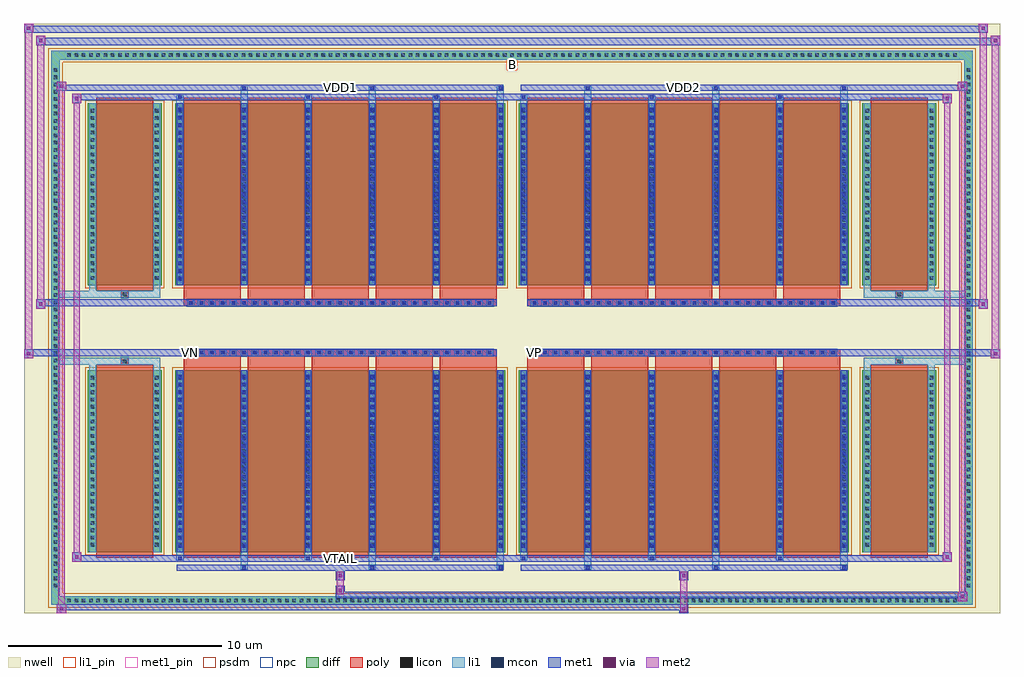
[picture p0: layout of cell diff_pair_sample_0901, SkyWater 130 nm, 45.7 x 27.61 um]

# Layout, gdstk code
import gdstk
lib = gdstk.Library(unit=1e-6, precision=5e-09)
def R(c, l, rs):  # rectangles x0, y0, x1, y1
    for r in rs: c.add(gdstk.rectangle(r[:2], r[2:], *l))
def A(c, l, x, y, w, h, nx, ny, dx, dy):  # array of equal rectangles
    R(c, l, [(x+i*dx, y+j*dy, x+i*dx+w, y+j*dy+h) for i in range(nx) for j in range(ny)])
def P(c, l, *ps):  # polygons
    for p in ps: c.add(gdstk.Polygon(p, *l))
nwell = (64, 20)
diff = (65, 20)
poly = (66, 20)
licon = (66, 44)
li1_pin = (67, 16)
li1 = (67, 20)
mcon = (67, 44)
met1_pin = (68, 16)
met1 = (68, 20)
via = (68, 44)
met2 = (69, 20)
psdm = (94, 20)
npc = (95, 20)

diff_pair_sample_0901 = lib.new_cell('diff_pair_sample_0901')
R(diff_pair_sample_0901, nwell, [(-22.85,-13.37,22.85,14.24), (-20.17,-11.56,-0.01,-0.8), (0.01,-11.56,20.17,-0.8), (-20.17,0.8,-0.01,11.56), (0.01,0.8,20.17,11.56)])
A(diff_pair_sample_0901, diff, -20.945, -12.97, 0.41, 0.41, 123, 2, 0.34, 25.53)
A(diff_pair_sample_0901, diff, -21.58, -12.275, 0.41, 0.41, 1, 72, 0, 0.34)
A(diff_pair_sample_0901, diff, 21.17, -12.275, 0.41, 0.41, 1, 72, 0, 0.34)
R(diff_pair_sample_0901, diff, [(-20.945,-12.97,20.945,-12.56), (-21.58,-12.275,-21.17,12.275), (21.17,-12.275,21.58,12.275), (-19.86,-10.515,-16.41,-1.985), (-15.77,-10.515,-0.32,-1.985), (0.32,-10.515,15.77,-1.985), (16.41,-10.515,19.86,-1.985), (-19.86,1.985,-16.41,10.515), (-15.77,1.985,-0.32,10.515), (0.32,1.985,15.77,10.515), (16.41,1.985,19.86,10.515), (-20.945,12.56,20.945,12.97)])
P(diff_pair_sample_0901, diff, [(21.58,12.97),(-21.58,12.97),(-21.58,-12.56),(-21.17,-12.56),(-21.17,12.56),(21.17,12.56),(21.17,-12.56),(-21.17,-12.56),(-21.58,-12.56),(-21.58,-12.97),(21.58,-12.97)])
A(diff_pair_sample_0901, poly, -15.38, -10.765, 2.67, 9.03, 5, 2, 3, 12.5)
A(diff_pair_sample_0901, poly, 0.71, -10.765, 2.67, 9.03, 5, 2, 3, 12.5)
A(diff_pair_sample_0901, poly, -15.38, -1.735, 2.67, 0.405, 5, 2, 3, 3.065)
A(diff_pair_sample_0901, poly, 0.71, -1.735, 2.67, 0.405, 5, 2, 3, 3.065)
A(diff_pair_sample_0901, poly, -15.21, -1.33, 0.33, 0.33, 29, 2, 0.5, 2.33)
A(diff_pair_sample_0901, poly, 0.88, -1.33, 0.33, 0.33, 29, 2, 0.5, 2.33)
R(diff_pair_sample_0901, poly, [(-19.47,-10.765,-16.8,-1.735), (16.8,-10.765,19.47,-1.735), (-18.3,-1.735,-17.97,-1.405), (-18.3,-1.735,-17.97,-1.405), (17.97,-1.735,18.3,-1.405), (17.97,-1.735,18.3,-1.405), (-15.38,-1.33,-0.71,-1), (0.71,-1.33,15.38,-1), (-15.38,1,-0.71,1.33), (0.71,1,15.38,1.33), (-18.3,1.405,-17.97,1.735), (-18.3,1.405,-17.97,1.735), (17.97,1.405,18.3,1.735), (17.97,1.405,18.3,1.735), (-19.47,1.735,-16.8,10.765), (16.8,1.735,19.47,10.765)])
A(diff_pair_sample_0901, licon, -20.825, -12.85, 0.17, 0.17, 123, 2, 0.34, 25.53)
A(diff_pair_sample_0901, licon, -21.46, -12.155, 0.17, 0.17, 1, 72, 0, 0.34)
A(diff_pair_sample_0901, licon, 21.29, -12.155, 0.17, 0.17, 1, 72, 0, 0.34)
A(diff_pair_sample_0901, licon, -19.72, -10.245, 0.17, 0.17, 1, 24, 0, 0.34)
A(diff_pair_sample_0901, licon, -16.72, -10.245, 0.17, 0.17, 1, 24, 0, 0.34)
A(diff_pair_sample_0901, licon, -15.63, -10.245, 0.17, 0.17, 6, 24, 3, 0.34)
A(diff_pair_sample_0901, licon, 0.46, -10.245, 0.17, 0.17, 6, 24, 3, 0.34)
A(diff_pair_sample_0901, licon, 16.55, -10.245, 0.17, 0.17, 1, 24, 0, 0.34)
A(diff_pair_sample_0901, licon, 19.55, -10.245, 0.17, 0.17, 1, 24, 0, 0.34)
A(diff_pair_sample_0901, licon, -15.13, -1.25, 0.17, 0.17, 29, 2, 0.5, 2.33)
A(diff_pair_sample_0901, licon, 0.96, -1.25, 0.17, 0.17, 29, 2, 0.5, 2.33)
A(diff_pair_sample_0901, licon, -19.72, 2.255, 0.17, 0.17, 1, 24, 0, 0.34)
A(diff_pair_sample_0901, licon, -16.72, 2.255, 0.17, 0.17, 1, 24, 0, 0.34)
A(diff_pair_sample_0901, licon, -15.63, 2.255, 0.17, 0.17, 6, 24, 3, 0.34)
A(diff_pair_sample_0901, licon, 0.46, 2.255, 0.17, 0.17, 6, 24, 3, 0.34)
A(diff_pair_sample_0901, licon, 16.55, 2.255, 0.17, 0.17, 1, 24, 0, 0.34)
A(diff_pair_sample_0901, licon, 19.55, 2.255, 0.17, 0.17, 1, 24, 0, 0.34)
R(diff_pair_sample_0901, licon, [(-18.22,-1.655,-18.05,-1.485), (18.05,-1.655,18.22,-1.485), (-18.22,1.485,-18.05,1.655), (18.05,1.485,18.22,1.655)])
R(diff_pair_sample_0901, li1_pin, [(-0.25,12.06,0.25,12.56)])
A(diff_pair_sample_0901, li1, -20.905, -12.93, 0.33, 0.33, 123, 2, 0.34, 25.53)
A(diff_pair_sample_0901, li1, -21.54, -12.235, 0.33, 0.33, 1, 72, 0, 0.34)
A(diff_pair_sample_0901, li1, 21.21, -12.235, 0.33, 0.33, 1, 72, 0, 0.34)
A(diff_pair_sample_0901, li1, -12.71, -11.32, 0.33, 0.805, 3, 2, 6, 21.835)
A(diff_pair_sample_0901, li1, -12.63, -11.32, 0.17, 0.17, 3, 2, 6, 22.47)
A(diff_pair_sample_0901, li1, 3.38, -11.32, 0.33, 0.805, 3, 2, 6, 21.835)
A(diff_pair_sample_0901, li1, 3.46, -11.32, 0.17, 0.17, 3, 2, 6, 22.47)
A(diff_pair_sample_0901, li1, -15.71, -10.89, 0.33, 0.375, 3, 2, 6, 21.405)
A(diff_pair_sample_0901, li1, -15.63, -10.89, 0.17, 0.17, 3, 2, 6, 21.61)
A(diff_pair_sample_0901, li1, 0.38, -10.89, 0.33, 0.375, 3, 2, 6, 21.405)
A(diff_pair_sample_0901, li1, 0.46, -10.89, 0.17, 0.17, 3, 2, 6, 21.61)
A(diff_pair_sample_0901, li1, -15.71, -10.515, 0.33, 8.53, 6, 2, 3, 12.5)
A(diff_pair_sample_0901, li1, 0.38, -10.515, 0.33, 8.53, 6, 2, 3, 12.5)
A(diff_pair_sample_0901, li1, -19.8, -10.325, 0.33, 0.33, 1, 24, 0, 0.34)
A(diff_pair_sample_0901, li1, -16.8, -10.325, 0.33, 0.33, 1, 24, 0, 0.34)
A(diff_pair_sample_0901, li1, -15.71, -10.325, 0.33, 0.33, 6, 24, 3, 0.34)
A(diff_pair_sample_0901, li1, 0.38, -10.325, 0.33, 0.33, 6, 24, 3, 0.34)
A(diff_pair_sample_0901, li1, 16.47, -10.325, 0.33, 0.33, 1, 24, 0, 0.34)
A(diff_pair_sample_0901, li1, 19.47, -10.325, 0.33, 0.33, 1, 24, 0, 0.34)
A(diff_pair_sample_0901, li1, -15.63, -10.295, 0.17, 0.17, 6, 23, 3, 0.36)
A(diff_pair_sample_0901, li1, -15.63, -10.295, 0.17, 8.09, 6, 2, 3, 12.5)
A(diff_pair_sample_0901, li1, 0.46, -10.295, 0.17, 0.17, 6, 23, 3, 0.36)
A(diff_pair_sample_0901, li1, 0.46, -10.295, 0.17, 8.09, 6, 2, 3, 12.5)
A(diff_pair_sample_0901, li1, -15.21, -1.33, 0.33, 0.33, 29, 2, 0.5, 2.33)
A(diff_pair_sample_0901, li1, 0.88, -1.33, 0.33, 0.33, 29, 2, 0.5, 2.33)
A(diff_pair_sample_0901, li1, -19.8, 2.175, 0.33, 0.33, 1, 24, 0, 0.34)
A(diff_pair_sample_0901, li1, -16.8, 2.175, 0.33, 0.33, 1, 24, 0, 0.34)
A(diff_pair_sample_0901, li1, -15.71, 2.175, 0.33, 0.33, 6, 24, 3, 0.34)
A(diff_pair_sample_0901, li1, 0.38, 2.175, 0.33, 0.33, 6, 24, 3, 0.34)
A(diff_pair_sample_0901, li1, 16.47, 2.175, 0.33, 0.33, 1, 24, 0, 0.34)
A(diff_pair_sample_0901, li1, 19.47, 2.175, 0.33, 0.33, 1, 24, 0, 0.34)
A(diff_pair_sample_0901, li1, -15.63, 2.205, 0.17, 0.17, 6, 23, 3, 0.36)
A(diff_pair_sample_0901, li1, 0.46, 2.205, 0.17, 0.17, 6, 23, 3, 0.36)
R(diff_pair_sample_0901, li1, [(-21.58,-12.97,-21.17,-12.56), (-21.58,-12.97,-21.17,-12.56), (-21.17,-12.97,21.17,-12.56), (21.17,-12.97,21.58,-12.56), (21.17,-12.97,21.58,-12.56), (-21.58,-12.56,-21.17,12.56), (21.17,-12.56,21.58,12.56), (-19.8,-10.515,-19.47,-1.985), (-16.8,-10.515,-16.47,-1.985), (16.47,-10.515,16.8,-1.985), (19.47,-10.515,19.8,-1.985), (-19.8,-1.985,-19.47,-1.405), (-16.8,-1.985,-16.47,-1.405), (16.47,-1.985,16.8,-1.405), (19.47,-1.985,19.8,-1.405), (-21.58,-1.735,-18.3,-1.405), (-19.8,-1.735,-18.3,-1.405), (-18.3,-1.735,-17.97,-1.405), (-17.97,-1.735,-16.47,-1.405), (16.47,-1.735,17.97,-1.405), (17.97,-1.735,18.3,-1.405), (17.97,-1.735,21.58,-1.405), (18.3,-1.735,19.8,-1.405), (-21.58,1.405,-18.3,1.735), (-19.8,1.405,-18.3,1.735), (-19.8,1.405,-19.47,1.985), (-18.3,1.405,-17.97,1.735), (-17.97,1.405,-16.47,1.735), (-16.8,1.405,-16.47,1.985), (16.47,1.405,17.97,1.735), (16.47,1.405,16.8,1.985), (17.97,1.405,18.3,1.735), (17.97,1.405,21.58,1.735), (18.3,1.405,19.8,1.735), (19.47,1.405,19.8,1.985), (-19.8,1.985,-19.47,10.515), (-16.8,1.985,-16.47,10.515), (16.47,1.985,16.8,10.515), (19.47,1.985,19.8,10.515), (-21.58,12.56,-21.17,12.97), (-21.58,12.56,-21.17,12.97), (-21.17,12.56,21.17,12.97), (21.17,12.56,21.58,12.97), (21.17,12.56,21.58,12.97)])
A(diff_pair_sample_0901, mcon, -12.63, -11.32, 0.17, 0.17, 3, 2, 6, 22.47)
A(diff_pair_sample_0901, mcon, 3.46, -11.32, 0.17, 0.17, 3, 2, 6, 22.47)
A(diff_pair_sample_0901, mcon, -15.63, -10.89, 0.17, 0.17, 3, 2, 6, 21.61)
A(diff_pair_sample_0901, mcon, 0.46, -10.89, 0.17, 0.17, 3, 2, 6, 21.61)
A(diff_pair_sample_0901, mcon, -15.63, -10.295, 0.17, 0.17, 6, 23, 3, 0.36)
A(diff_pair_sample_0901, mcon, 0.46, -10.295, 0.17, 0.17, 6, 23, 3, 0.36)
A(diff_pair_sample_0901, mcon, -15.13, -1.25, 0.17, 0.17, 29, 2, 0.5, 2.33)
A(diff_pair_sample_0901, mcon, 0.96, -1.25, 0.17, 0.17, 29, 2, 0.5, 2.33)
A(diff_pair_sample_0901, mcon, -15.63, 2.205, 0.17, 0.17, 6, 23, 3, 0.36)
A(diff_pair_sample_0901, mcon, 0.46, 2.205, 0.17, 0.17, 6, 23, 3, 0.36)
R(diff_pair_sample_0901, met1_pin, [(-8.18,-10.93,-7.91,-10.66), (-15.18,-1.29,-14.91,-1.02), (0.91,-1.29,1.18,-1.02), (-8.18,11.11,-7.91,11.38), (7.91,11.11,8.18,11.38)])
A(diff_pair_sample_0901, met1, -12.69, -11.38, 0.29, 0.29, 3, 2, 6, 22.47)
A(diff_pair_sample_0901, met1, 3.4, -11.38, 0.29, 0.29, 3, 2, 6, 22.47)
A(diff_pair_sample_0901, met1, -15.69, -10.95, 0.29, 0.29, 3, 2, 6, 21.61)
A(diff_pair_sample_0901, met1, 0.4, -10.95, 0.29, 0.29, 3, 2, 6, 21.61)
A(diff_pair_sample_0901, met1, -15.69, -10.515, 0.29, 8.53, 6, 2, 3, 12.5)
A(diff_pair_sample_0901, met1, 0.4, -10.515, 0.29, 8.53, 6, 2, 3, 12.5)
A(diff_pair_sample_0901, met1, -15.69, -10.355, 0.29, 0.29, 6, 23, 3, 0.36)
A(diff_pair_sample_0901, met1, 0.4, -10.355, 0.29, 0.29, 6, 23, 3, 0.36)
A(diff_pair_sample_0901, met1, -15.19, -1.31, 0.29, 0.29, 29, 2, 0.5, 2.33)
A(diff_pair_sample_0901, met1, 0.9, -1.31, 0.29, 0.29, 29, 2, 0.5, 2.33)
A(diff_pair_sample_0901, met1, -15.69, 2.145, 0.29, 0.29, 6, 23, 3, 0.36)
A(diff_pair_sample_0901, met1, 0.4, 2.145, 0.29, 0.29, 6, 23, 3, 0.36)
R(diff_pair_sample_0901, met1, [(-21.31,-13.37,-20.88,-12.94), (7.83,-13.37,8.26,-12.94), (-21.31,-13.23,8.26,-12.94), (20.88,-12.8,21.31,-12.37), (-8.26,-12.66,21.31,-12.37), (-8.26,-12.52,-7.83,-12.09), (-8.26,-11.81,-7.83,-11.38), (7.83,-11.81,8.26,-11.38), (-15.69,-11.38,-0.4,-11.09), (0.4,-11.38,15.69,-11.09), (-20.6,-10.95,-20.17,-10.52), (-20.6,-10.95,-15.69,-10.66), (-15.69,-10.95,-0.4,-10.66), (-0.4,-10.95,0.4,-10.66), (0.4,-10.95,15.69,-10.66), (15.69,-10.95,20.6,-10.66), (20.17,-10.95,20.6,-10.52), (-22.85,-1.43,-22.42,-1), (22.42,-1.43,22.85,-1), (-22.85,-1.33,-0.71,-1), (-15.38,-1.33,-0.71,-1), (0.71,-1.33,15.38,-1), (0.71,-1.33,22.85,-1), (-22.28,0.9,-21.85,1.33), (21.85,0.9,22.28,1.33), (-22.28,1,-15.38,1.33), (-15.38,1,-0.71,1.33), (0.71,1,15.38,1.33), (15.38,1,22.28,1.33), (-20.6,10.52,-20.17,10.95), (20.17,10.52,20.6,10.95), (-20.6,10.66,-15.69,10.95), (-15.69,10.66,-0.4,10.95), (-0.4,10.66,0.4,10.95), (0.4,10.66,15.69,10.95), (15.69,10.66,20.6,10.95), (-21.31,11.09,-20.88,11.52), (-21.31,11.09,-15.69,11.38), (-15.69,11.09,-0.4,11.38), (0.4,11.09,15.69,11.38), (15.69,11.09,21.31,11.38), (20.88,11.09,21.31,11.52), (-22.28,13.24,-21.85,13.67), (-22.28,13.24,-20.17,13.57), (-20.17,13.24,20.17,13.57), (20.17,13.24,22.85,13.57), (22.42,13.24,22.85,13.67), (-22.85,13.81,-22.42,14.24), (-22.85,13.81,-20.17,14.14), (-20.17,13.81,20.17,14.14), (20.17,13.81,22.28,14.14), (21.85,13.81,22.28,14.24)])
R(diff_pair_sample_0901, via, [(-21.17,-13.23,-21.02,-13.08), (7.97,-13.23,8.12,-13.08), (21.02,-12.66,21.17,-12.51), (-8.12,-12.38,-7.97,-12.23), (-8.12,-11.67,-7.97,-11.52), (7.97,-11.67,8.12,-11.52), (-20.46,-10.81,-20.31,-10.66), (20.31,-10.81,20.46,-10.66), (-22.71,-1.29,-22.56,-1.14), (22.56,-1.29,22.71,-1.14), (-22.14,1.04,-21.99,1.19), (21.99,1.04,22.14,1.19), (-20.46,10.66,-20.31,10.81), (20.31,10.66,20.46,10.81), (-21.17,11.23,-21.02,11.38), (21.02,11.23,21.17,11.38), (-22.14,13.38,-21.99,13.53), (22.56,13.38,22.71,13.53), (-22.71,13.95,-22.56,14.1), (21.99,13.95,22.14,14.1)])
R(diff_pair_sample_0901, met2, [(-21.31,-13.37,-20.88,-12.94), (-21.24,-13.37,-20.95,11.52), (-20.95,-13.37,-20.88,-12.94), (-21.26,-13.32,-20.93,-12.99), (7.88,-13.32,8.21,-12.99), (7.88,-12.99,8.21,-11.76), (20.88,-12.8,21.31,-12.37), (20.95,-12.8,21.24,11.52), (21.24,-12.8,21.31,-12.37), (20.93,-12.75,21.26,-12.42), (-8.21,-12.47,-7.88,-12.14), (-8.21,-12.14,-7.88,-11.76), (-8.21,-11.76,-7.88,-11.43), (7.88,-11.76,8.21,-11.43), (-20.6,-10.95,-20.17,-10.52), (-20.53,-10.95,-20.24,10.95), (-20.24,-10.95,-20.17,-10.52), (20.17,-10.95,20.6,-10.52), (20.24,-10.95,20.53,10.95), (20.53,-10.95,20.6,-10.52), (-20.55,-10.9,-20.22,-10.57), (20.22,-10.9,20.55,-10.57), (-22.85,-1.43,-22.42,-1), (-22.8,-1.43,-22.47,14.24), (-22.47,-1.43,-22.42,-1), (22.42,-1.43,22.85,-1), (22.47,-1.43,22.8,13.67), (22.8,-1.43,22.85,-1), (-22.8,-1.38,-22.47,-1.05), (22.47,-1.38,22.8,-1.05), (-22.28,0.9,-21.85,1.33), (-22.23,0.9,-21.9,13.67), (-21.9,0.9,-21.85,1.33), (21.85,0.9,22.28,1.33), (21.9,0.9,22.23,14.24), (22.23,0.9,22.28,1.33), (-22.23,0.95,-21.9,1.28), (21.9,0.95,22.23,1.28), (-20.6,10.52,-20.17,10.95), (-20.24,10.52,-20.17,10.95), (20.17,10.52,20.6,10.95), (20.53,10.52,20.6,10.95), (-20.55,10.57,-20.22,10.9), (20.22,10.57,20.55,10.9), (-21.31,11.09,-20.88,11.52), (-20.95,11.09,-20.88,11.52), (20.88,11.09,21.31,11.52), (21.24,11.09,21.31,11.52), (-21.26,11.14,-20.93,11.47), (20.93,11.14,21.26,11.47), (-22.28,13.24,-21.85,13.67), (-21.9,13.24,-21.85,13.67), (22.42,13.24,22.85,13.67), (22.8,13.24,22.85,13.67), (-22.23,13.29,-21.9,13.62), (22.47,13.29,22.8,13.62), (-22.85,13.81,-22.42,14.24), (-22.47,13.81,-22.42,14.24), (21.85,13.81,22.28,14.24), (22.23,13.81,22.28,14.24), (-22.8,13.86,-22.47,14.19), (21.9,13.86,22.23,14.19)])
R(diff_pair_sample_0901, psdm, [(-19.99,-10.645,-16.28,-1.855), (-15.9,-10.645,-0.19,-1.855), (0.19,-10.645,15.9,-1.855), (16.28,-10.645,19.99,-1.855), (-19.99,1.855,-16.28,10.645), (-15.9,1.855,-0.19,10.645), (0.19,1.855,15.9,10.645), (16.28,1.855,19.99,10.645)])
P(diff_pair_sample_0901, psdm, [(21.71,13.1),(-21.71,13.1),(-21.71,-12.43),(-21.04,-12.43),(-21.04,12.43),(21.04,12.43),(21.04,-12.43),(-21.04,-12.43),(-21.71,-12.43),(-21.71,-13.1),(21.71,-13.1)])
A(diff_pair_sample_0901, npc, -15.23, -1.35, 0.37, 0.37, 29, 2, 0.5, 2.33)
A(diff_pair_sample_0901, npc, 0.86, -1.35, 0.37, 0.37, 29, 2, 0.5, 2.33)
R(diff_pair_sample_0901, npc, [(-18.32,-1.755,-17.95,-1.385), (17.95,-1.755,18.32,-1.385), (-15.23,-1.35,-14.36,-0.98), (-15.23,-1.35,-14.36,-0.98), (-14.73,-1.35,-13.86,-0.98), (-14.73,-1.35,-13.86,-0.98), (-14.23,-1.35,-13.36,-0.98), (-14.23,-1.35,-13.36,-0.98), (-13.73,-1.35,-12.86,-0.98), (-13.73,-1.35,-12.86,-0.98), (-13.23,-1.35,-12.36,-0.98), (-13.23,-1.35,-12.36,-0.98), (-12.73,-1.35,-11.86,-0.98), (-12.73,-1.35,-11.86,-0.98), (-12.23,-1.35,-11.36,-0.98), (-12.23,-1.35,-11.36,-0.98), (-11.73,-1.35,-10.86,-0.98), (-11.73,-1.35,-10.86,-0.98), (-11.23,-1.35,-10.36,-0.98), (-11.23,-1.35,-10.36,-0.98), (-10.73,-1.35,-9.86,-0.98), (-10.73,-1.35,-9.86,-0.98), (-10.23,-1.35,-9.36,-0.98), (-10.23,-1.35,-9.36,-0.98), (-9.73,-1.35,-8.86,-0.98), (-9.73,-1.35,-8.86,-0.98), (-9.23,-1.35,-8.36,-0.98), (-9.23,-1.35,-8.36,-0.98), (-8.73,-1.35,-7.86,-0.98), (-8.73,-1.35,-7.86,-0.98), (-8.23,-1.35,-7.36,-0.98), (-8.23,-1.35,-7.36,-0.98), (-7.73,-1.35,-6.86,-0.98), (-7.73,-1.35,-6.86,-0.98), (-7.23,-1.35,-6.36,-0.98), (-7.23,-1.35,-6.36,-0.98), (-6.73,-1.35,-5.86,-0.98), (-6.73,-1.35,-5.86,-0.98), (-6.23,-1.35,-5.36,-0.98), (-6.23,-1.35,-5.36,-0.98), (-5.73,-1.35,-4.86,-0.98), (-5.73,-1.35,-4.86,-0.98), (-5.23,-1.35,-4.36,-0.98), (-5.23,-1.35,-4.36,-0.98), (-4.73,-1.35,-3.86,-0.98), (-4.73,-1.35,-3.86,-0.98), (-4.23,-1.35,-3.36,-0.98), (-4.23,-1.35,-3.36,-0.98), (-3.73,-1.35,-2.86,-0.98), (-3.73,-1.35,-2.86,-0.98), (-3.23,-1.35,-2.36,-0.98), (-3.23,-1.35,-2.36,-0.98), (-2.73,-1.35,-1.86,-0.98), (-2.73,-1.35,-1.86,-0.98), (-2.23,-1.35,-1.36,-0.98), (-2.23,-1.35,-1.36,-0.98), (-1.73,-1.35,-0.86,-0.98), (-1.73,-1.35,-0.86,-0.98), (0.86,-1.35,1.73,-0.98), (0.86,-1.35,1.73,-0.98), (1.36,-1.35,2.23,-0.98), (1.36,-1.35,2.23,-0.98), (1.86,-1.35,2.73,-0.98), (1.86,-1.35,2.73,-0.98), (2.36,-1.35,3.23,-0.98), (2.36,-1.35,3.23,-0.98), (2.86,-1.35,3.73,-0.98), (2.86,-1.35,3.73,-0.98), (3.36,-1.35,4.23,-0.98), (3.36,-1.35,4.23,-0.98), (3.86,-1.35,4.73,-0.98), (3.86,-1.35,4.73,-0.98), (4.36,-1.35,5.23,-0.98), (4.36,-1.35,5.23,-0.98), (4.86,-1.35,5.73,-0.98), (4.86,-1.35,5.73,-0.98), (5.36,-1.35,6.23,-0.98), (5.36,-1.35,6.23,-0.98), (5.86,-1.35,6.73,-0.98), (5.86,-1.35,6.73,-0.98), (6.36,-1.35,7.23,-0.98), (6.36,-1.35,7.23,-0.98), (6.86,-1.35,7.73,-0.98), (6.86,-1.35,7.73,-0.98), (7.36,-1.35,8.23,-0.98), (7.36,-1.35,8.23,-0.98), (7.86,-1.35,8.73,-0.98), (7.86,-1.35,8.73,-0.98), (8.36,-1.35,9.23,-0.98), (8.36,-1.35,9.23,-0.98), (8.86,-1.35,9.73,-0.98), (8.86,-1.35,9.73,-0.98), (9.36,-1.35,10.23,-0.98), (9.36,-1.35,10.23,-0.98), (9.86,-1.35,10.73,-0.98), (9.86,-1.35,10.73,-0.98), (10.36,-1.35,11.23,-0.98), (10.36,-1.35,11.23,-0.98), (10.86,-1.35,11.73,-0.98), (10.86,-1.35,11.73,-0.98), (11.36,-1.35,12.23,-0.98), (11.36,-1.35,12.23,-0.98), (11.86,-1.35,12.73,-0.98), (11.86,-1.35,12.73,-0.98), (12.36,-1.35,13.23,-0.98), (12.36,-1.35,13.23,-0.98), (12.86,-1.35,13.73,-0.98), (12.86,-1.35,13.73,-0.98), (13.36,-1.35,14.23,-0.98), (13.36,-1.35,14.23,-0.98), (13.86,-1.35,14.73,-0.98), (13.86,-1.35,14.73,-0.98), (14.36,-1.35,15.23,-0.98), (14.36,-1.35,15.23,-0.98), (-15.23,0.98,-14.36,1.35), (-15.23,0.98,-14.36,1.35), (-14.73,0.98,-13.86,1.35), (-14.73,0.98,-13.86,1.35), (-14.23,0.98,-13.36,1.35), (-14.23,0.98,-13.36,1.35), (-13.73,0.98,-12.86,1.35), (-13.73,0.98,-12.86,1.35), (-13.23,0.98,-12.36,1.35), (-13.23,0.98,-12.36,1.35), (-12.73,0.98,-11.86,1.35), (-12.73,0.98,-11.86,1.35), (-12.23,0.98,-11.36,1.35), (-12.23,0.98,-11.36,1.35), (-11.73,0.98,-10.86,1.35), (-11.73,0.98,-10.86,1.35), (-11.23,0.98,-10.36,1.35), (-11.23,0.98,-10.36,1.35), (-10.73,0.98,-9.86,1.35), (-10.73,0.98,-9.86,1.35), (-10.23,0.98,-9.36,1.35), (-10.23,0.98,-9.36,1.35), (-9.73,0.98,-8.86,1.35), (-9.73,0.98,-8.86,1.35), (-9.23,0.98,-8.36,1.35), (-9.23,0.98,-8.36,1.35), (-8.73,0.98,-7.86,1.35), (-8.73,0.98,-7.86,1.35), (-8.23,0.98,-7.36,1.35), (-8.23,0.98,-7.36,1.35), (-7.73,0.98,-6.86,1.35), (-7.73,0.98,-6.86,1.35), (-7.23,0.98,-6.36,1.35), (-7.23,0.98,-6.36,1.35), (-6.73,0.98,-5.86,1.35), (-6.73,0.98,-5.86,1.35), (-6.23,0.98,-5.36,1.35), (-6.23,0.98,-5.36,1.35), (-5.73,0.98,-4.86,1.35), (-5.73,0.98,-4.86,1.35), (-5.23,0.98,-4.36,1.35), (-5.23,0.98,-4.36,1.35), (-4.73,0.98,-3.86,1.35), (-4.73,0.98,-3.86,1.35), (-4.23,0.98,-3.36,1.35), (-4.23,0.98,-3.36,1.35), (-3.73,0.98,-2.86,1.35), (-3.73,0.98,-2.86,1.35), (-3.23,0.98,-2.36,1.35), (-3.23,0.98,-2.36,1.35), (-2.73,0.98,-1.86,1.35), (-2.73,0.98,-1.86,1.35), (-2.23,0.98,-1.36,1.35), (-2.23,0.98,-1.36,1.35), (-1.73,0.98,-0.86,1.35), (-1.73,0.98,-0.86,1.35), (0.86,0.98,1.73,1.35), (0.86,0.98,1.73,1.35), (1.36,0.98,2.23,1.35), (1.36,0.98,2.23,1.35), (1.86,0.98,2.73,1.35), (1.86,0.98,2.73,1.35), (2.36,0.98,3.23,1.35), (2.36,0.98,3.23,1.35), (2.86,0.98,3.73,1.35), (2.86,0.98,3.73,1.35), (3.36,0.98,4.23,1.35), (3.36,0.98,4.23,1.35), (3.86,0.98,4.73,1.35), (3.86,0.98,4.73,1.35), (4.36,0.98,5.23,1.35), (4.36,0.98,5.23,1.35), (4.86,0.98,5.73,1.35), (4.86,0.98,5.73,1.35), (5.36,0.98,6.23,1.35), (5.36,0.98,6.23,1.35), (5.86,0.98,6.73,1.35), (5.86,0.98,6.73,1.35), (6.36,0.98,7.23,1.35), (6.36,0.98,7.23,1.35), (6.86,0.98,7.73,1.35), (6.86,0.98,7.73,1.35), (7.36,0.98,8.23,1.35), (7.36,0.98,8.23,1.35), (7.86,0.98,8.73,1.35), (7.86,0.98,8.73,1.35), (8.36,0.98,9.23,1.35), (8.36,0.98,9.23,1.35), (8.86,0.98,9.73,1.35), (8.86,0.98,9.73,1.35), (9.36,0.98,10.23,1.35), (9.36,0.98,10.23,1.35), (9.86,0.98,10.73,1.35), (9.86,0.98,10.73,1.35), (10.36,0.98,11.23,1.35), (10.36,0.98,11.23,1.35), (10.86,0.98,11.73,1.35), (10.86,0.98,11.73,1.35), (11.36,0.98,12.23,1.35), (11.36,0.98,12.23,1.35), (11.86,0.98,12.73,1.35), (11.86,0.98,12.73,1.35), (12.36,0.98,13.23,1.35), (12.36,0.98,13.23,1.35), (12.86,0.98,13.73,1.35), (12.86,0.98,13.73,1.35), (13.36,0.98,14.23,1.35), (13.36,0.98,14.23,1.35), (13.86,0.98,14.73,1.35), (13.86,0.98,14.73,1.35), (14.36,0.98,15.23,1.35), (14.36,0.98,15.23,1.35), (-18.32,1.385,-17.95,1.755), (17.95,1.385,18.32,1.755)])
diff_pair_sample_0901.add(gdstk.Label('VTAIL', (-8.045,-10.795), layer=68, texttype=5))
diff_pair_sample_0901.add(gdstk.Label('VN', (-15.045,-1.155), layer=68, texttype=5))
diff_pair_sample_0901.add(gdstk.Label('VP', (1.045,-1.155), layer=68, texttype=5))
diff_pair_sample_0901.add(gdstk.Label('B', (0,12.31), layer=67, texttype=5))
diff_pair_sample_0901.add(gdstk.Label('VDD2', (8.045,11.245), layer=68, texttype=5))
diff_pair_sample_0901.add(gdstk.Label('VDD1', (-8.045,11.245), layer=68, texttype=5))

lib.write_gds('diff_pair_sample_0901.gds')
